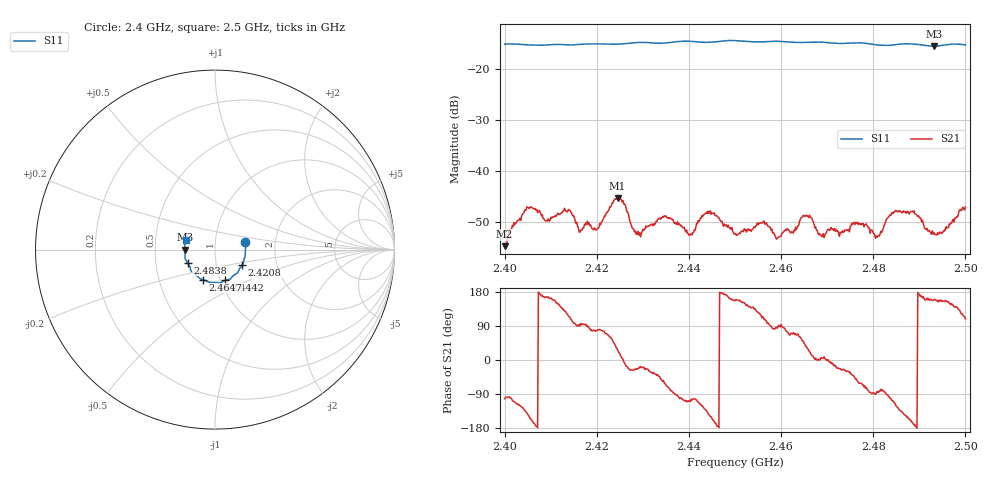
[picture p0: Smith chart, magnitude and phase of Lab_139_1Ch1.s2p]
# Hz S RI R 50
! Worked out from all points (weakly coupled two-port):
!   601 points, 2.4 GHz to 2.5 GHz, reference 50 ohm
!   highest |S21| = -45.28 dB at 2.4245 GHz (marker M1); lowest = -54.7 dB at 2.4 GHz (marker M2)
!   lowest |S11| = -15.6 dB at 2.4932 GHz (marker M3), VSWR 1.40, Z = 35.8 - j0.0929 ohm
!   |S11| at or under -10 dB: start of sweep to end of sweep
!   S12 and S22 are empty: the file has one direction only
!   S11 on the Smith chart (normalised r, x): 2.4 GHz: 1.40, +0.12; 2.4208 GHz: 1.33, -0.24; 2.4442 GHz: 1.05, -0.37; 2.4647 GHz: 0.83, -0.29; 2.4838 GHz: 0.73, -0.11; 2.5 GHz: 0.72, +0.08
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2.4e9  0.1679 0.041  -0.000394 -0.0018  0 0  0 0
2.405333e9  0.1702 0.00588  -0.00368 -0.00221  0 0  0 0
2.414e9  0.1628 -0.0506  -0.00169 0.00377  0 0  0 0
2.416667e9  0.1589 -0.0682  -0.000176 0.00265  0 0  0 0
2.420833e9  0.1509 -0.0872  0.000551 0.00293  0 0  0 0
2.4245e9  0.1377 -0.1054  0.00486 0.00244  0 0  0 0
2.429e9  0.1271 -0.1273  0.00235 -0.00102  0 0  0 0
2.433333e9  0.108 -0.1401  0.00251 -0.0023  0 0  0 0
2.440333e9  0.0808 -0.1664  -0.000786 -0.00224  0 0  0 0
2.444167e9  0.0568 -0.1713  -0.00317 -0.0025  0 0  0 0
2.45e9  0.0246 -0.1864  -0.00221 0.00096  0 0  0 0
2.455833e9  -0.0129 -0.1821  -0.00112 0.00288  0 0  0 0
2.4595e9  -0.0329 -0.1818  -5.43e-05 0.00226  0 0  0 0
2.464667e9  -0.0672 -0.1671  0.00231 0.00276  0 0  0 0
2.466667e9  -0.0801 -0.1627  0.00336 0.000709  0 0  0 0
2.469e9  -0.0897 -0.1572  0.00231 0.000198  0 0  0 0
2.476167e9  -0.1282 -0.1235  0.002 -0.00242  0 0  0 0
2.480833e9  -0.1391 -0.0982  0.000272 -0.00223  0 0  0 0
2.483333e9  -0.1505 -0.0762  -0.000333 -0.00353  0 0  0 0
2.483833e9  -0.1531 -0.0721  -0.000735 -0.0036  0 0  0 0
2.493167e9  -0.1659 -0.00126  -0.00233 0.000894  0 0  0 0
2.5e9  -0.1624 0.0527  -0.0014 0.00421  0 0  0 0
